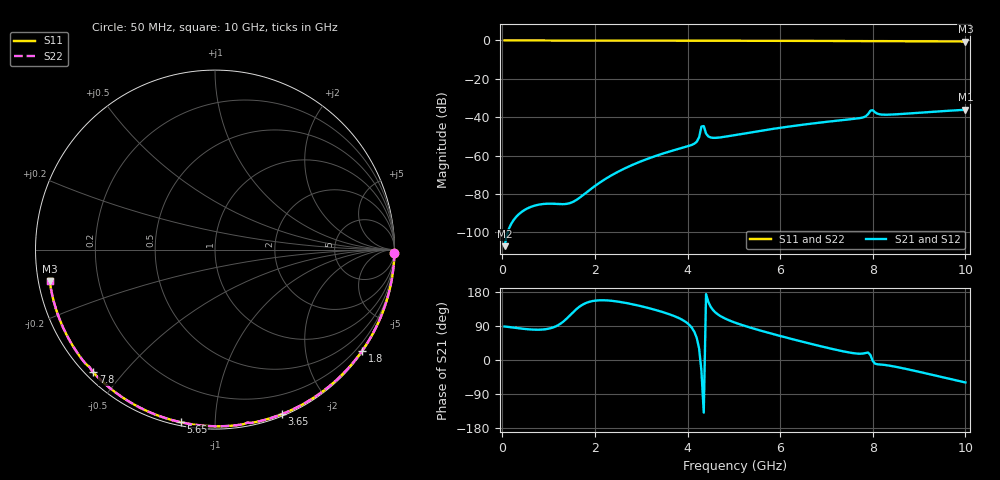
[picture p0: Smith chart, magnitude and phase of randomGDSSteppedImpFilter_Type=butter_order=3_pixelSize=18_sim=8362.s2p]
! freq	dB(S11)	phase(S11)	dB(S12)	phase(S12)
!  dB(S21)	phase(S21)	dB(S22)	phase(S22)
!S-par simulation data
#  GHz  S  DB  R 50
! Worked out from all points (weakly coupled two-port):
!   200 points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, 50 MHz to 10 GHz, reference 50 ohm
!   highest |S21| = -36.15 dB at 10 GHz (marker M1); lowest = -107.3 dB at 50 MHz (marker M2)
!   lowest |S11| = -0.6 dB at 10 GHz (marker M3), VSWR 30.98, Z = 1.63 - j4.7 ohm
!   |S11| at or under -10 dB: nowhere
!   |S22| runs from -0.6 to 0.0 dB; largest |S21 - S12| = 0
!   S11 on the Smith chart (normalised r, x): 50 MHz: open; 1.8 GHz: 0.03, -3.22; 3.65 GHz: 0.02, -1.48; 5.65 GHz: 0.02, -0.82; 7.8 GHz: 0.02, -0.42; 10 GHz: 0.03, -0.09
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0.05  -0.00 -1.0  -107.29 88.3  -107.29 88.3  -0.00 -1.0
0.85  -0.02 -16.5  -85.38 80.3  -85.38 80.3  -0.02 -16.5
1.75  -0.04 -33.6  -80.54 147.1  -80.54 147.1  -0.04 -33.5
1.8  -0.04 -34.5  -79.60 150.1  -79.60 150.1  -0.04 -34.5
2.5  -0.06 -47.4  -68.47 154.0  -68.47 154.0  -0.06 -47.4
3.4  -0.08 -63.6  -59.52 128.9  -59.52 128.9  -0.08 -63.5
3.65  -0.09 -67.9  -57.64 118.8  -57.64 118.8  -0.09 -67.9
4.15  -0.11 -76.6  -53.77 73.5  -53.77 73.5  -0.11 -76.5
4.25  -0.12 -78.4  -50.50 30.3  -50.50 30.3  -0.12 -78.3
4.3  -0.16 -79.3  -44.93 -28.4  -44.93 -28.4  -0.16 -79.3
4.35  -0.16 -79.6  -44.65 -138.8  -44.65 -138.8  -0.16 -79.6
4.4  -0.13 -80.6  -48.57 173.9  -48.57 173.9  -0.13 -80.5
4.5  -0.12 -82.3  -50.62 140.3  -50.62 140.3  -0.12 -82.3
5.05  -0.14 -91.5  -49.23 97.5  -49.23 97.5  -0.14 -91.4
5.65  -0.17 -101.2  -46.83 75.1  -46.83 75.1  -0.17 -101.1
6.7  -0.23 -117.7  -43.31 41.5  -43.31 41.5  -0.23 -117.6
7.8  -0.33 -134.8  -40.06 17.3  -40.06 17.3  -0.33 -134.7
7.95  -0.38 -136.9  -36.60 13.2  -36.60 13.2  -0.38 -136.8
8  -0.36 -137.5  -36.39 -2.6  -36.39 -2.6  -0.36 -137.4
8.15  -0.35 -139.9  -38.52 -11.8  -38.52 -11.8  -0.35 -139.8
8.35  -0.36 -143.1  -38.70 -14.7  -38.70 -14.7  -0.36 -143.0
10  -0.56 -169.3  -36.15 -59.3  -36.15 -59.3  -0.56 -169.1
